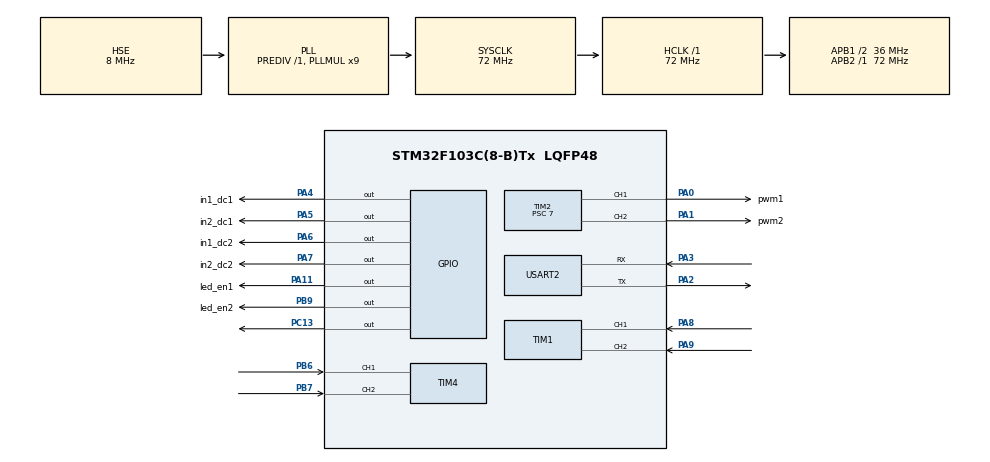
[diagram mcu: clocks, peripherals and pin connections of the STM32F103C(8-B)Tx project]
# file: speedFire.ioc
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Dma.Request0=USART2_RX
Dma.USART2_RX.0.Direction=DMA_PERIPH_TO_MEMORY
Dma.USART2_RX.0.Instance=DMA1_Channel6
Dma.USART2_RX.0.MemDataAlignment=DMA_MDATAALIGN_BYTE
Dma.USART2_RX.0.MemInc=DMA_MINC_ENABLE
Dma.USART2_RX.0.Mode=DMA_NORMAL
Dma.USART2_RX.0.PeriphDataAlignment=DMA_PDATAALIGN_BYTE
Dma.USART2_RX.0.PeriphInc=DMA_PINC_DISABLE
Dma.USART2_RX.0.Priority=DMA_PRIORITY_LOW
Mcu.Family=STM32F1
Mcu.Name=STM32F103C(8-B)Tx
Mcu.Package=LQFP48
NVIC.DMA1_Channel6_IRQn=true\:0\:0\:false\:false\:true\:false\:true
NVIC.PriorityGroup=NVIC_PRIORITYGROUP_4
NVIC.TIM3_IRQn=true\:0\:0\:false\:false\:true\:true\:true
NVIC.USART2_IRQn=true\:0\:0\:false\:false\:true\:true\:true
PA0-WKUP.GPIO_Label=pwm1
PA0-WKUP.Signal=S_TIM2_CH1_ETR
PA1.GPIO_Label=pwm2
PA1.Signal=S_TIM2_CH2
PA11.GPIO_Label=led_en1
PA11.Signal=GPIO_Output
PA13.Mode=Serial_Wire
PA13.Signal=SYS_JTMS-SWDIO
PA14.Mode=Serial_Wire
PA14.Signal=SYS_JTCK-SWCLK
PA2.Mode=Asynchronous
PA2.Signal=USART2_TX
PA3.GPIO_PuPd=GPIO_PULLUP
PA3.Mode=Asynchronous
PA3.Signal=USART2_RX
PA4.GPIO_Label=in1_dc1
PA4.Signal=GPIO_Output
PA5.GPIO_Label=in2_dc1
PA5.Signal=GPIO_Output
PA6.GPIO_Label=in1_dc2
PA6.Signal=GPIO_Output
PA7.GPIO_Label=in2_dc2
PA7.Signal=GPIO_Output
PA8.Signal=S_TIM1_CH1
PA9.Signal=S_TIM1_CH2
PB6.Signal=S_TIM4_CH1
PB7.Signal=S_TIM4_CH2
PB9.GPIO_Label=led_en2
PB9.Signal=GPIO_Output
PC13-TAMPER-RTC.Signal=GPIO_Output
PD0-OSC_IN.Mode=HSE-External-Oscillator
PD0-OSC_IN.Signal=RCC_OSC_IN
PD1-OSC_OUT.Mode=HSE-External-Oscillator
PD1-OSC_OUT.Signal=RCC_OSC_OUT
ProjectManager.HeapSize=0x200
ProjectManager.StackSize=0x400
ProjectManager.TargetToolchain=STM32CubeIDE
RCC.AHBFreq_Value=72000000
RCC.APB1CLKDivider=RCC_HCLK_DIV2
RCC.APB1Freq_Value=36000000
RCC.APB1TimFreq_Value=72000000
RCC.APB2Freq_Value=72000000
RCC.APB2TimFreq_Value=72000000
RCC.HCLKFreq_Value=72000000
RCC.PLLMUL=RCC_PLL_MUL9
RCC.PLLSourceVirtual=RCC_PLLSOURCE_HSE
RCC.SYSCLKFreq_VALUE=72000000
RCC.SYSCLKSource=RCC_SYSCLKSOURCE_PLLCLK
RCC.USBFreq_Value=72000000
SH.S_TIM1_CH1.0=TIM1_CH1,Encoder_Interface
SH.S_TIM1_CH2.0=TIM1_CH2,Encoder_Interface
SH.S_TIM2_CH1_ETR.0=TIM2_CH1,PWM Generation1 CH1
SH.S_TIM2_CH2.0=TIM2_CH2,PWM Generation2 CH2
SH.S_TIM4_CH1.0=TIM4_CH1,Encoder_Interface
SH.S_TIM4_CH2.0=TIM4_CH2,Encoder_Interface
TIM1.EncoderMode=TIM_ENCODERMODE_TI12
TIM1.IC1Filter=10
TIM1.IC1Polarity=TIM_ICPOLARITY_FALLING
TIM1.IC2Filter=10
TIM1.IC2Polarity=TIM_ICPOLARITY_FALLING
TIM2.AutoReloadPreload=TIM_AUTORELOAD_PRELOAD_DISABLE
TIM2.Channel-PWM\ Generation1\ CH1=TIM_CHANNEL_1
TIM2.Channel-PWM\ Generation2\ CH2=TIM_CHANNEL_2
TIM2.ClockDivision=TIM_CLOCKDIVISION_DIV1
TIM2.Period=999
TIM2.Prescaler=7
TIM3.Period=99
TIM3.Prescaler=7199
TIM4.AutoReloadPreload=TIM_AUTORELOAD_PRELOAD_ENABLE
TIM4.EncoderMode=TIM_ENCODERMODE_TI12
TIM4.IC1Filter=10
TIM4.IC1Polarity=TIM_ICPOLARITY_FALLING
TIM4.IC2Filter=10
TIM4.IC2Polarity=TIM_ICPOLARITY_FALLING
USART2.VirtualMode=VM_ASYNC
VP_TIM2_VS_ClockSourceINT.Mode=Internal
VP_TIM3_VS_ClockSourceINT.Mode=Internal
board=custom

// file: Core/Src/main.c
/* USER CODE BEGIN Header */
/**
  ******************************************************************************
  * @file           : main.c
  * @brief          : Main program body
  ******************************************************************************
  * @attention
  *
  * <h2><center>&copy; Copyright (c) 2024 STMicroelectronics.
  * All rights reserved.</center></h2>
  *
  * This software component is licensed by ST under BSD 3-Clause license,
  * the "License"; You may not use this file except in compliance with the
  * License. You may obtain a copy of the License at:
  *                        opensource.org/licenses/BSD-3-Clause
  *
  ******************************************************************************
  */
/* USER CODE END Header */
#include "main.h"

/* USER CODE BEGIN Includes */
#include "pid.h"
/* USER CODE END Includes */

/* USER CODE BEGIN PTD */
int oldCounter = 0;
uint8_t command = 0;
uint8_t commandFromMain[6];
volatile short counter = 0;
int oldCounter2 = 0;
volatile short counter2 = 0;
volatile float speed = 0;
volatile float speed2 = 0;
int test = 0;
PID_TypeDef speedPID1;
PID_TypeDef speedPID2;
double inputSpeed1, outputPWM1 = 0, setPoint1 = 0;
double inputSpeed2, outputPWM2 = 0, setPoint2 = 0;
/* USER CODE END PTD */

TIM_HandleTypeDef htim1;
TIM_HandleTypeDef htim2;
TIM_HandleTypeDef htim3;
TIM_HandleTypeDef htim4;

UART_HandleTypeDef huart2;
DMA_HandleTypeDef hdma_usart2_rx;

void SystemClock_Config(void);
static void MX_GPIO_Init(void);
static void MX_DMA_Init(void);
static void MX_TIM1_Init(void);
static void MX_TIM4_Init(void);
static void MX_USART2_UART_Init(void);
static void MX_TIM2_Init(void);
static void MX_TIM3_Init(void);
/* USER CODE BEGIN PFP */
void hBridge(int pwmVal, char index);
/* USER CODE END PFP */

/* USER CODE BEGIN 0 */
void HAL_UART_RxCpltCallback(UART_HandleTypeDef *huart){
	command = commandFromMain[0];
	HAL_UART_Receive_DMA(&huart2, commandFromMain, 1);
	HAL_GPIO_TogglePin(GPIOC, GPIO_PIN_13);
}
/* USER CODE END 0 */

int main(void)
{

  /* MCU Configuration--------------------------------------------------------*/

  /* Reset of all peripherals, Initializes the Flash interface and the Systick. */
  HAL_Init();

  /* Configure the system clock */
  SystemClock_Config();

  /* Initialize all configured peripherals */
  MX_GPIO_Init();
  MX_DMA_Init();
  MX_TIM1_Init();
  MX_TIM4_Init();
  MX_USART2_UART_Init();
  MX_TIM2_Init();
  MX_TIM3_Init();
  /* USER CODE BEGIN 2 */
  HAL_TIM_PWM_Start(&htim2, TIM_CHANNEL_1);
  HAL_TIM_PWM_Start(&htim2, TIM_CHANNEL_2);
  HAL_TIM_Base_Start_IT(&htim3);
  HAL_UART_Receive_DMA(&huart2, commandFromMain, 1);
  HAL_TIM_Encoder_Start(&htim1, TIM_CHANNEL_ALL);
  HAL_TIM_Encoder_Start(&htim4, TIM_CHANNEL_ALL);
  hBridge(0, 0);
  hBridge(0, 1);
  HAL_GPIO_WritePin(GPIOC, GPIO_PIN_13, 1);
  PID(&speedPID1, &inputSpeed1, &outputPWM1, &setPoint1, 51, 20, 0.03, _PID_P_ON_E, _PID_CD_DIRECT);//70
  PID(&speedPID2, &inputSpeed2, &outputPWM2, &setPoint2, 51, 20, 0.03, _PID_P_ON_E, _PID_CD_REVERSE);//70
  PID_SetMode(&speedPID1, _PID_MODE_AUTOMATIC, 0.01f, 15);
  PID_SetMode(&speedPID2, _PID_MODE_AUTOMATIC, 0.01f, 15);
  PID_SetSampleTime(&speedPID1, 10);
  PID_SetSampleTime(&speedPID2, 10);
  PID_SetOutputLimits(&speedPID1, -999, 999);
  PID_SetOutputLimits(&speedPID2, -999, 999);
//  setPoint1 = 69;
//  setPoint2 = -69;
    setPoint1 = 0;
    setPoint2 = 0;
//  setPoint1 = 0;
//  setPoint2 = 0;
  /* USER CODE END 2 */

  /* Infinite loop */
  /* USER CODE BEGIN WHILE */
  while (1)
  {

//	  setPoint1 = commandFromMain[0];
//	  setPoint2 = commandFromMain[0];
	  if(command == 0x69){
		   setPoint1 = 67;
		   setPoint2 = -67;
	  }else if(command == 0x01){
		  setPoint1 = 0;
		  setPoint2 = 0;
	  }else if(command == 0x77){
		   setPoint1 = 75;
		   setPoint2 = -75;
	  }
	  PID_Compute(&speedPID1);
	  PID_Compute(&speedPID2);
	  hBridge(outputPWM1, 0);
	  hBridge(outputPWM2, 1);
    /* USER CODE END WHILE */

  }
}

void SystemClock_Config(void)
{
  RCC_OscInitTypeDef RCC_OscInitStruct = {0};
  RCC_ClkInitTypeDef RCC_ClkInitStruct = {0};

  /** Initializes the RCC Oscillators according to the specified parameters
  * in the RCC_OscInitTypeDef structure.
  */
  RCC_OscInitStruct.OscillatorType = RCC_OSCILLATORTYPE_HSE;
  RCC_OscInitStruct.HSEState = RCC_HSE_ON;
  RCC_OscInitStruct.HSEPredivValue = RCC_HSE_PREDIV_DIV1;
  RCC_OscInitStruct.HSIState = RCC_HSI_ON;
  RCC_OscInitStruct.PLL.PLLState = RCC_PLL_ON;
  RCC_OscInitStruct.PLL.PLLSource = RCC_PLLSOURCE_HSE;
  RCC_OscInitStruct.PLL.PLLMUL = RCC_PLL_MUL9;
  if (HAL_RCC_OscConfig(&RCC_OscInitStruct) != HAL_OK)
  {
    Error_Handler();
  }
  /** Initializes the CPU, AHB and APB buses clocks
  */
  RCC_ClkInitStruct.ClockType = RCC_CLOCKTYPE_HCLK|RCC_CLOCKTYPE_SYSCLK
                              |RCC_CLOCKTYPE_PCLK1|RCC_CLOCKTYPE_PCLK2;
  RCC_ClkInitStruct.SYSCLKSource = RCC_SYSCLKSOURCE_PLLCLK;
  RCC_ClkInitStruct.AHBCLKDivider = RCC_SYSCLK_DIV1;
  RCC_ClkInitStruct.APB1CLKDivider = RCC_HCLK_DIV2;
  RCC_ClkInitStruct.APB2CLKDivider = RCC_HCLK_DIV1;

  if (HAL_RCC_ClockConfig(&RCC_ClkInitStruct, FLASH_LATENCY_2) != HAL_OK)
  {
    Error_Handler();
  }
}

static void MX_TIM1_Init(void)
{

  TIM_Encoder_InitTypeDef sConfig = {0};
  TIM_MasterConfigTypeDef sMasterConfig = {0};

  htim1.Instance = TIM1;
  htim1.Init.Prescaler = 0;
  htim1.Init.CounterMode = TIM_COUNTERMODE_UP;
  htim1.Init.Period = 65535;
  htim1.Init.ClockDivision = TIM_CLOCKDIVISION_DIV1;
  htim1.Init.RepetitionCounter = 0;
  htim1.Init.AutoReloadPreload = TIM_AUTORELOAD_PRELOAD_DISABLE;
  sConfig.EncoderMode = TIM_ENCODERMODE_TI12;
  sConfig.IC1Polarity = TIM_ICPOLARITY_FALLING;
  sConfig.IC1Selection = TIM_ICSELECTION_DIRECTTI;
  sConfig.IC1Prescaler = TIM_ICPSC_DIV1;
  sConfig.IC1Filter = 10;
  sConfig.IC2Polarity = TIM_ICPOLARITY_FALLING;
  sConfig.IC2Selection = TIM_ICSELECTION_DIRECTTI;
  sConfig.IC2Prescaler = TIM_ICPSC_DIV1;
  sConfig.IC2Filter = 10;
  if (HAL_TIM_Encoder_Init(&htim1, &sConfig) != HAL_OK)
  {
    Error_Handler();
  }
  sMasterConfig.MasterOutputTrigger = TIM_TRGO_RESET;
  sMasterConfig.MasterSlaveMode = TIM_MASTERSLAVEMODE_DISABLE;
  if (HAL_TIMEx_MasterConfigSynchronization(&htim1, &sMasterConfig) != HAL_OK)
  {
    Error_Handler();
  }

}

static void MX_TIM2_Init(void)
{

  TIM_ClockConfigTypeDef sClockSourceConfig = {0};
  TIM_MasterConfigTypeDef sMasterConfig = {0};
  TIM_OC_InitTypeDef sConfigOC = {0};

  htim2.Instance = TIM2;
  htim2.Init.Prescaler = 7;
  htim2.Init.CounterMode = TIM_COUNTERMODE_UP;
  htim2.Init.Period = 999;
  htim2.Init.ClockDivision = TIM_CLOCKDIVISION_DIV1;
  htim2.Init.AutoReloadPreload = TIM_AUTORELOAD_PRELOAD_DISABLE;
  if (HAL_TIM_Base_Init(&htim2) != HAL_OK)
  {
    Error_Handler();
  }
  sClockSourceConfig.ClockSource = TIM_CLOCKSOURCE_INTERNAL;
  if (HAL_TIM_ConfigClockSource(&htim2, &sClockSourceConfig) != HAL_OK)
  {
    Error_Handler();
  }
  if (HAL_TIM_PWM_Init(&htim2) != HAL_OK)
  {
    Error_Handler();
  }
  sMasterConfig.MasterOutputTrigger = TIM_TRGO_RESET;
  sMasterConfig.MasterSlaveMode = TIM_MASTERSLAVEMODE_DISABLE;
  if (HAL_TIMEx_MasterConfigSynchronization(&htim2, &sMasterConfig) != HAL_OK)
  {
    Error_Handler();
  }
  sConfigOC.OCMode = TIM_OCMODE_PWM1;
  sConfigOC.Pulse = 0;
  sConfigOC.OCPolarity = TIM_OCPOLARITY_HIGH;
  sConfigOC.OCFastMode = TIM_OCFAST_DISABLE;
  if (HAL_TIM_PWM_ConfigChannel(&htim2, &sConfigOC, TIM_CHANNEL_1) != HAL_OK)
  {
    Error_Handler();
  }
  if (HAL_TIM_PWM_ConfigChannel(&htim2, &sConfigOC, TIM_CHANNEL_2) != HAL_OK)
  {
    Error_Handler();
  }
  HAL_TIM_MspPostInit(&htim2);

}

static void MX_TIM3_Init(void)
{

  TIM_ClockConfigTypeDef sClockSourceConfig = {0};
  TIM_MasterConfigTypeDef sMasterConfig = {0};

  htim3.Instance = TIM3;
  htim3.Init.Prescaler = 7199;
  htim3.Init.CounterMode = TIM_COUNTERMODE_UP;
  htim3.Init.Period = 99;
  htim3.Init.ClockDivision = TIM_CLOCKDIVISION_DIV1;
  htim3.Init.AutoReloadPreload = TIM_AUTORELOAD_PRELOAD_DISABLE;
  if (HAL_TIM_Base_Init(&htim3) != HAL_OK)
  {
    Error_Handler();
  }
  sClockSourceConfig.ClockSource = TIM_CLOCKSOURCE_INTERNAL;
  if (HAL_TIM_ConfigClockSource(&htim3, &sClockSourceConfig) != HAL_OK)
  {
    Error_Handler();
  }
  sMasterConfig.MasterOutputTrigger = TIM_TRGO_RESET;
  sMasterConfig.MasterSlaveMode = TIM_MASTERSLAVEMODE_DISABLE;
  if (HAL_TIMEx_MasterConfigSynchronization(&htim3, &sMasterConfig) != HAL_OK)
  {
    Error_Handler();
  }

}

static void MX_TIM4_Init(void)
{

  TIM_Encoder_InitTypeDef sConfig = {0};
  TIM_MasterConfigTypeDef sMasterConfig = {0};

  htim4.Instance = TIM4;
  htim4.Init.Prescaler = 0;
  htim4.Init.CounterMode = TIM_COUNTERMODE_UP;
  htim4.Init.Period = 65535;
  htim4.Init.ClockDivision = TIM_CLOCKDIVISION_DIV1;
  htim4.Init.AutoReloadPreload = TIM_AUTORELOAD_PRELOAD_ENABLE;
  sConfig.EncoderMode = TIM_ENCODERMODE_TI12;
  sConfig.IC1Polarity = TIM_ICPOLARITY_FALLING;
  sConfig.IC1Selection = TIM_ICSELECTION_DIRECTTI;
  sConfig.IC1Prescaler = TIM_ICPSC_DIV1;
  sConfig.IC1Filter = 10;
  sConfig.IC2Polarity = TIM_ICPOLARITY_FALLING;
  sConfig.IC2Selection = TIM_ICSELECTION_DIRECTTI;
  sConfig.IC2Prescaler = TIM_ICPSC_DIV1;
  sConfig.IC2Filter = 10;
  if (HAL_TIM_Encoder_Init(&htim4, &sConfig) != HAL_OK)
  {
    Error_Handler();
  }
  sMasterConfig.MasterOutputTrigger = TIM_TRGO_RESET;
  sMasterConfig.MasterSlaveMode = TIM_MASTERSLAVEMODE_DISABLE;
  if (HAL_TIMEx_MasterConfigSynchronization(&htim4, &sMasterConfig) != HAL_OK)
  {
    Error_Handler();
  }

}

static void MX_USART2_UART_Init(void)
{

  huart2.Instance = USART2;
  huart2.Init.BaudRate = 115200;
  huart2.Init.WordLength = UART_WORDLENGTH_8B;
  huart2.Init.StopBits = UART_STOPBITS_1;
  huart2.Init.Parity = UART_PARITY_NONE;
  huart2.Init.Mode = UART_MODE_TX_RX;
  huart2.Init.HwFlowCtl = UART_HWCONTROL_NONE;
  huart2.Init.OverSampling = UART_OVERSAMPLING_16;
  if (HAL_UART_Init(&huart2) != HAL_OK)
  {
    Error_Handler();
  }

}

static void MX_DMA_Init(void)
{

  /* DMA controller clock enable */
  __HAL_RCC_DMA1_CLK_ENABLE();

  /* DMA interrupt init */
  /* DMA1_Channel6_IRQn interrupt configuration */
  HAL_NVIC_SetPriority(DMA1_Channel6_IRQn, 0, 0);
  HAL_NVIC_EnableIRQ(DMA1_Channel6_IRQn);

}

static void MX_GPIO_Init(void)
{
  GPIO_InitTypeDef GPIO_InitStruct = {0};

  /* GPIO Ports Clock Enable */
  __HAL_RCC_GPIOC_CLK_ENABLE();
  __HAL_RCC_GPIOD_CLK_ENABLE();
  __HAL_RCC_GPIOA_CLK_ENABLE();
  __HAL_RCC_GPIOB_CLK_ENABLE();

  /*Configure GPIO pin Output Level */
  HAL_GPIO_WritePin(GPIOC, GPIO_PIN_13, GPIO_PIN_RESET);

  /*Configure GPIO pin Output Level */
  HAL_GPIO_WritePin(GPIOA, in1_dc1_Pin|in2_dc1_Pin|in1_dc2_Pin|in2_dc2_Pin
                          |led_en1_Pin, GPIO_PIN_RESET);

  /*Configure GPIO pin Output Level */
  HAL_GPIO_WritePin(led_en2_GPIO_Port, led_en2_Pin, GPIO_PIN_RESET);

  /*Configure GPIO pin : PC13 */
  GPIO_InitStruct.Pin = GPIO_PIN_13;
  GPIO_InitStruct.Mode = GPIO_MODE_OUTPUT_PP;
  GPIO_InitStruct.Pull = GPIO_NOPULL;
  GPIO_InitStruct.Speed = GPIO_SPEED_FREQ_LOW;
  HAL_GPIO_Init(GPIOC, &GPIO_InitStruct);

  /*Configure GPIO pins : in1_dc1_Pin in2_dc1_Pin in1_dc2_Pin in2_dc2_Pin
                           led_en1_Pin */
  GPIO_InitStruct.Pin = in1_dc1_Pin|in2_dc1_Pin|in1_dc2_Pin|in2_dc2_Pin
                          |led_en1_Pin;
  GPIO_InitStruct.Mode = GPIO_MODE_OUTPUT_PP;
  GPIO_InitStruct.Pull = GPIO_NOPULL;
  GPIO_InitStruct.Speed = GPIO_SPEED_FREQ_LOW;
  HAL_GPIO_Init(GPIOA, &GPIO_InitStruct);

  /*Configure GPIO pin : led_en2_Pin */
  GPIO_InitStruct.Pin = led_en2_Pin;
  GPIO_InitStruct.Mode = GPIO_MODE_OUTPUT_PP;
  GPIO_InitStruct.Pull = GPIO_NOPULL;
  GPIO_InitStruct.Speed = GPIO_SPEED_FREQ_LOW;
  HAL_GPIO_Init(led_en2_GPIO_Port, &GPIO_InitStruct);

}

/* USER CODE BEGIN 4 */
void HAL_TIM_PeriodElapsedCallback(TIM_HandleTypeDef *htim) { // PID apply
  if (htim->Instance == TIM3) {
	  	__disable_irq();
	  	counter2 = (int)__HAL_TIM_GET_COUNTER(&htim1);
	  	counter = (int)__HAL_TIM_GET_COUNTER(&htim4);
	  	speed = counter;
	  	speed2 = counter2;
	  	oldCounter = counter;
	  	oldCounter2 = counter2;
	  	__HAL_TIM_SET_COUNTER(&htim1, 0);
	  	__HAL_TIM_SET_COUNTER(&htim4, 0);
	  	inputSpeed1 = speed;
	  	inputSpeed2 = speed2;
//	  	HAL_GPIO_TogglePin(GPIOC, GPIO_PIN_13);
		__enable_irq();
  }
}
void hBridge(int pwmVal, char index){
	if(index == 0){
		if(pwmVal < -10){
			HAL_GPIO_WritePin(GPIOA, in1_dc1_Pin, 0);
			HAL_GPIO_WritePin(GPIOA, in2_dc1_Pin, 1);
			__HAL_TIM_SET_COMPARE(&htim2, TIM_CHANNEL_1, -pwmVal);
		}else if(pwmVal > 10){
			HAL_GPIO_WritePin(GPIOA, in1_dc1_Pin, 1);
				HAL_GPIO_WritePin(GPIOA, in2_dc1_Pin, 0);
			__HAL_TIM_SET_COMPARE(&htim2, TIM_CHANNEL_1, pwmVal);
		}
	}else if(index == 1){
		if(pwmVal < -10){
			HAL_GPIO_WritePin(GPIOA, in1_dc2_Pin, 0);
			HAL_GPIO_WritePin(GPIOA, in2_dc2_Pin, 1);
			__HAL_TIM_SET_COMPARE(&htim2, TIM_CHANNEL_2, -pwmVal);
		}else if(pwmVal > 10){
			HAL_GPIO_WritePin(GPIOA, in1_dc2_Pin, 1);
			HAL_GPIO_WritePin(GPIOA, in2_dc2_Pin, 0);
			__HAL_TIM_SET_COMPARE(&htim2, TIM_CHANNEL_2, pwmVal);
		}
	}
}
/* USER CODE END 4 */

void Error_Handler(void)
{
  __disable_irq();
  while (1)
  {
  }
}

/************************ (C) COPYRIGHT STMicroelectronics *****END OF FILE****/
